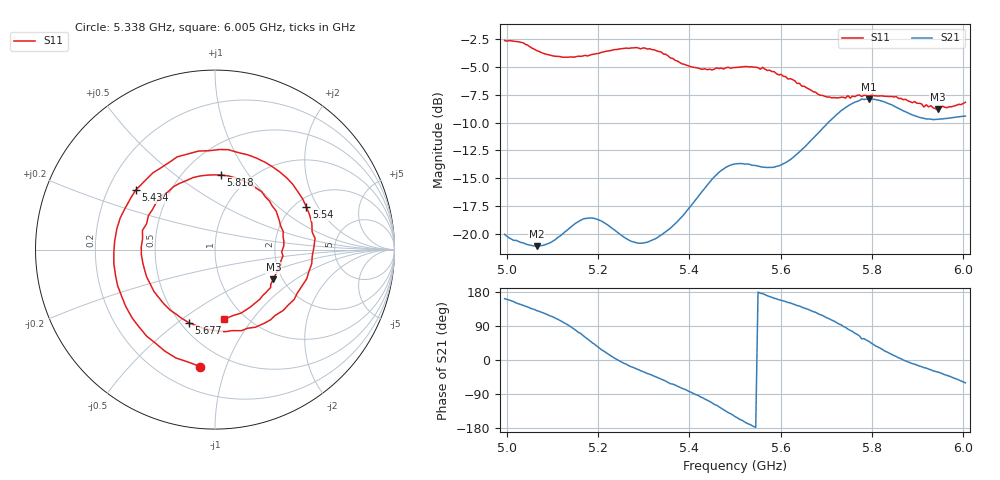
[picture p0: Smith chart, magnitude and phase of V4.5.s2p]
!File created by NanoVNA
# Hz S RI R 50
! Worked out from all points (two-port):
!   201 points, 4.995 GHz to 6.005 GHz, reference 50 ohm
!   highest |S21| = -7.87 dB at 5.793 GHz (marker M1); lowest = -21.1 dB at 5.066 GHz (marker M2)
!   |S21| within 3 dB of the highest: 5.684 GHz to end of sweep
!   lowest |S11| = -8.8 dB at 5.944 GHz (marker M3), VSWR 2.15, Z = 89.8 - j34.2 ohm
!   |S11| at or under -10 dB: nowhere
!   S12 and S22 are empty: the file has one direction only
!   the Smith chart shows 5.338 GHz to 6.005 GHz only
!   S11 on the Smith chart (normalised r, x): 5.338 GHz: 0.36, -0.82; 5.434 GHz: 0.32, +0.30; 5.54 GHz: 2.31, +1.60; 5.677 GHz: 0.55, -0.55; 5.818 GHz: 0.75, +0.75; 6.005 GHz: 0.81, -0.74
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4.995e9  0.2403 -0.7011  -0.0944 0.0307  0 0  0 0
5.03035e9  -0.2749 -0.6729  -0.076 0.0506  0 0  0 0
5.0657e9  -0.6156 -0.2555  -0.0568 0.0669  0 0  0 0
5.1061e9  -0.562 0.2831  -0.0326 0.0881  0 0  0 0
5.1667e9  0.1068 0.6216  0.0494 0.1052  0 0  0 0
5.21215e9  0.5532 0.3569  0.1029 0.0451  0 0  0 0
5.25255e9  0.6759 -0.081  0.0972 -0.0106  0 0  0 0
5.33335e9  -0.0147 -0.6606  0.0646 -0.0726  0 0  0 0
5.3384e9  -0.0809 -0.6522  0.0628 -0.076  0 0  0 0
5.3889e9  -0.5428 -0.2004  0.0279 -0.1193  0 0  0 0
5.43435e9  -0.4428 0.33  -0.037 -0.1567  0 0  0 0
5.5e9  0.2292 0.5105  -0.1771 -0.1052  0 0  0 0
5.5404e9  0.5094 0.237  -0.2022 -0.0167  0 0  0 0
5.61615e9  0.3351 -0.3668  -0.1867 0.1003  0 0  0 0
5.6717e9  -0.1148 -0.42  -0.1644 0.2134  0 0  0 0
5.67675e9  -0.1436 -0.4085  -0.1615 0.224  0 0  0 0
5.73735e9  -0.411 0.0142  0.00922 0.3629  0 0  0 0
5.7929e9  -0.1567 0.3858  0.2615 0.308  0 0  0 0
5.81815e9  0.0346 0.4158  0.3394 0.2067  0 0  0 0
5.83835e9  0.1705 0.3776  0.3652 0.1173  0 0  0 0
5.9444e9  0.3249 -0.1651  0.2769 -0.1742  0 0  0 0
6.005e9  0.0501 -0.3872  0.1678 -0.2936  0 0  0 0
